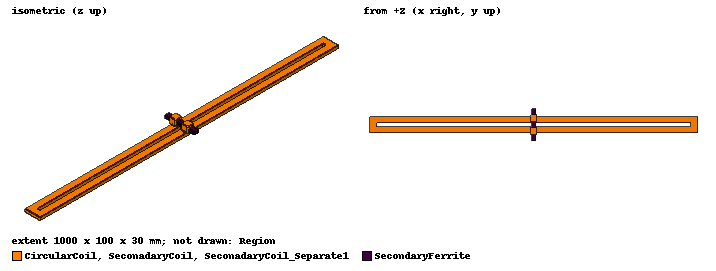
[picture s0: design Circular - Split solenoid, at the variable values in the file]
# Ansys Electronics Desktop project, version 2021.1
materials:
  copper: permeability=0.999991 conductivity=58000000
  ferrite: permittivity=12 permeability=1000 conductivity=0.01
  vacuum: permittivity=1

design DoubleD - Regular solenoid (Maxwell 3D, Magnetostatic, model units mm)
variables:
  DiameterInner = 40mm
  FerriteWidth = 220mm
  FerriteCoilGap = 10mm
  SCwidth = 20mm
  SCLength = 40mm
  SCdepth = 20mm
  SecondaryFerriteWidth = 15mm
  SecondaryFerriteHeight = 8mm
  SecondaryFerrriteOffset = 25mm
  N2 = 10
  I2 = 1*sqrt(2) A
  secondaryYOffset = 50mm
  SecondaryFerriteLength = 100mm
  PrimaryCuttoutOffset = 125mm
  PrimaryCuttoutWidth = 75mm
  N = 10
  I = 1*sqrt(2) A
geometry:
  PrimaryFerrite [ferrite] = box(corner=(-500mm, -FerriteWidth/2, -FerriteCoilGap - 8mm), size=(1000mm, FerriteWidth, 8mm))
  Region [vacuum] = region(absolute_offset=300mm on all sides)
  SeconadaryCoil [copper] = box(corner=(-Scwidth/2, -SCLength/2 + secondaryYOffset, SecondaryFerrriteOffset - SCdepth/4), size=(SCwidth, SCLength, SCdepth))
  SecondaryFerrite [ferrite] = box(corner=(-SecondaryFerriteWidth/2, -SecondaryFerriteLength/2 + secondaryYOffset, SecondaryFerrriteOffset), size=(SecondaryFerriteWidth, SecondaryFerriteLength, SecondaryFerriteHeight))
  Box4 = box(corner=(-SecondaryFerriteWidth/2, -SCLength/2 + secondaryYOffset, SecondaryFerrriteOffset), size=(SecondaryFerriteWidth, SCLength, SecondaryFerriteHeight))
  SeconadaryCoil.subtract(Box4)
  SeconadaryCoil_Section1 [copper] = SeconadaryCoil.section(plane=YZ)
  SeconadaryCoil_Section1.separate_bodies()
  PrimaryCoil = box(corner=(-500mm, -150mm, 0mm), size=(1000mm, 150mm, 5mm))
  Box6 = box(corner=(-450mm, -PrimaryCuttoutOffset, 0mm), size=(900mm, PrimaryCuttoutWidth, 5mm))
  PrimaryCoil.subtract(Box6)
  PrimaryCoil_1 [copper] = PrimaryCoil.duplicate_mirror(point=(0mm, 0mm, 0mm), normal=(0mm, 1mm, 0mm))
  PrimaryCoil_1.unite(PrimaryCoil)
  PrimaryCoil_1.split(plane=XY, keep=PositiveOnly)
  PrimaryCoil_2 [copper] = PrimaryCoil_1.split(plane=ZX, keep=Both)
  PrimaryCoil_1.separate_bodies()
  PrimaryCoil_1_Section1 = PrimaryCoil_1.section(plane=YZ)
  PrimaryCoil_1_Section1_Separate1 [copper] = PrimaryCoil_1_Section1.separate_bodies()
  PrimaryCoil_1_Section1.delete()
  PrimaryCoil_2_Section1 = PrimaryCoil_2.section(plane=YZ)
  PrimaryCoil_2_Section1_Separate1 [copper] = PrimaryCoil_2_Section1.separate_bodies()
  PrimaryCoil_2_Section1.delete()
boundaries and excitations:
  Insulating1: Insulating Objects=[PrimaryCoil_1, PrimaryCoil_2]
  L_st: Current Objects=SeconadaryCoil_Section1 Current=N2*I2 IsSolid=false Point_out_of_terminal=false
  L_pt1: Current Objects=PrimaryCoil_1_Section1_Separate1 Current=N*I IsSolid=false Point_out_of_terminal=false
  L_pt2: Current Objects=PrimaryCoil_2_Section1_Separate1 Current=N*I IsSolid=false Point_out_of_terminal=false
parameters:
  Matrix1: Matrix L_st: NumberOfTurns=N2; L_pt1, L_pt2: NumberOfTurns=1; group Group1 = L_pt1, L_pt2 (1 parallel)
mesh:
  initial mesh: GlobalCurvilinear{Apply}
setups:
  Setup1: Magnetostatic MaximumPasses=30 MinimumPasses=2 MinimumConvergedPasses=1 PercentRefinement=30 PercentError=1 NonLinearResidual=0.001
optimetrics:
  CuttoutWidthSweep: Parametric Sim._Setups=[Setup1]
    sweep PrimaryCuttoutWidth: LIN 50mm 125mm 12.5mm
    calculate L_st_sim on Setup1 : LastAdaptive
    calculate k on Setup1 : LastAdaptive
    calculate L_pt_sim on Setup1 : LastAdaptive
    calculate M on Setup1 : LastAdaptive
  CuttoutOffsetSweep: Parametric Sim._Setups=[Setup1]
    sweep PrimaryCuttoutOffset: LIN 80mm 140mm 10mm
    calculate L_pt_sim on Setup1 : LastAdaptive
    calculate L_st_sim on Setup1 : LastAdaptive
    calculate k on Setup1 : LastAdaptive
    calculate M on Setup1 : LastAdaptive
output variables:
  L_pt_sim = Matrix1.L(L_pt,L_pt)
  L_st_sim = Matrix1.L(L_st,L_st)
  k = abs(Matrix1.CplCoef(L_st,L_pt))
  M = k*sqrt(L_pt_sim*L_st_sim)
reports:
  L Plot 1: Matrix1.L(Group1,Group1) vs PrimaryCoilWidth on Setup1 : LastAdaptive [PrimaryCuttoutOffset=all PrimaryCuttoutWidth=all]

design Circular - Split solenoid (Maxwell 3D, Magnetostatic, model units mm)
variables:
  SCwidth = 20mm
  SCLength = 60mm
  SCdepth = 20mm
  SecondaryFerriteWidth = 15mm
  SecondaryFerriteHeight = 8mm
  SecondaryFerrriteOffset = 15mm
  secondaryYOffset = 0mm
  SecondaryFerriteLength = 100mm
  OuterWidthPrimary = 50mm
  ZThicknessPrimary = 10mm
  PrimaryThickness = 20mm
  SCGapLength = 20mm
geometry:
  Region [vacuum] = region(absolute_offset=300mm on all sides)
  SeconadaryCoil [copper] = box(corner=(-Scwidth/2, -SCLength/2 + secondaryYOffset, SecondaryFerrriteOffset - SCdepth/4), size=(SCwidth, SCLength, SCdepth))
  SecondaryFerrite [ferrite] = box(corner=(-SecondaryFerriteWidth/2, -SecondaryFerriteLength/2 + secondaryYOffset, SecondaryFerrriteOffset), size=(SecondaryFerriteWidth, SecondaryFerriteLength, SecondaryFerriteHeight))
  Box4 = box(corner=(-SecondaryFerriteWidth/2, -SCLength/2 + secondaryYOffset, SecondaryFerrriteOffset), size=(SecondaryFerriteWidth, SCLength, SecondaryFerriteHeight))
  SeconadaryCoil.subtract(Box4)
  CircularCoil [copper] = box(corner=(-500mm, -OuterWidthPrimary/2, 0mm), size=(1000mm, OuterWidthPrimary, ZThicknessPrimary))
  CircularCoilCuttout = box(corner=(-(1000mm - 2*PrimaryThickness)/2, -(OuterWidthPrimary -2*PrimaryThickness)/2, 0mm), size=(1000mm - 2*PrimaryThickness, OuterWidthPrimary -2*PrimaryThickness, ZThicknessPrimary))
  CircularCoil.subtract(CircularCoilCuttout)
  SeconadaryCoilGap = box(corner=(-Scwidth/2, -(SCGapLength/2) + secondaryYOffset, SecondaryFerrriteOffset - SCdepth/4), size=(SCwidth, SCGapLength, SCdepth))
  Box5 = box(corner=(-SecondaryFerriteWidth/2, -SCLength/2 + secondaryYOffset, SecondaryFerrriteOffset), size=(SecondaryFerriteWidth, SCLength, SecondaryFerriteHeight))
  SeconadaryCoilGap.subtract(Box5)
  SeconadaryCoil.subtract(SeconadaryCoilGap)
  SeconadaryCoil_Separate1 [copper] = SeconadaryCoil.separate_bodies()
  SeconadaryCoil_Separate1_Section1 = SeconadaryCoil_Separate1.section(plane=YZ)
  SeconadaryCoil_Section2 = SeconadaryCoil.section(plane=YZ)
  SeconadaryCoil_Separate1_Section1_Separate1 [copper] = SeconadaryCoil_Separate1_Section1.separate_bodies()
  SeconadaryCoil_Separate1_Section1.delete()
  SeconadaryCoil_Section2_Separate1 [copper] = SeconadaryCoil_Section2.separate_bodies()
  SeconadaryCoil_Section2.delete()
  CircularCoil_Section1 = CircularCoil.section(plane=YZ)
  CircularCoil_Section1.separate_bodies()
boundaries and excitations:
  Insulating1: Insulating Objects=[SecondaryFerrite, SeconadaryCoil, SeconadaryCoil_Separate1]
  Ist_1: Current Objects=SeconadaryCoil_Separate1_Section1_Separate1 Current=1A IsSolid=false Point_out_of_terminal=true
  Ist_2: Current Objects=SeconadaryCoil_Section2_Separate1 Current=1A IsSolid=false Point_out_of_terminal=false
  Ipt: Current Objects=CircularCoil_Section1 Current=1A IsSolid=false Point_out_of_terminal=false
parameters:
  Matrix1: Matrix Ipt, Ist_1, Ist_2: NumberOfTurns=1; group Group1 = Ist_1, Ist_2 (1 parallel)
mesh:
  initial mesh: GlobalCurvilinear{Apply}
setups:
  Setup1: Magnetostatic MaximumPasses=30 MinimumPasses=2 MinimumConvergedPasses=1 PercentRefinement=30 PercentError=1 NonLinearResidual=0.001
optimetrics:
  ParametricSetup1: Parametric Sim._Setups=[Setup1]
    sweep OuterWidthPrimary: LIN 50mm 80mm 5mm
    calculate Lpt on Setup1 : LastAdaptive
    calculate Lst on Setup1 : LastAdaptive
    calculate Lmutual on Setup1 : LastAdaptive
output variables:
  Lpt = Matrix1.L(Ipt,Ipt)
  Lst = Matrix1.L(Group1,Group1)
  Lmutual = Matrix1.L(Group1,Ipt)
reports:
  Output Variables Plot 1: Lpt vs OuterWidthPrimary on Setup1 : LastAdaptive
  Output Variables Plot 2: Lst vs OuterWidthPrimary on Setup1 : LastAdaptive
  Output Variables Plot 3: Lmutual vs OuterWidthPrimary on Setup1 : LastAdaptive

design DoubleD - Holed Ferrites (Maxwell 3D, Magnetostatic, model units mm)
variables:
  FerriteWidth = 230mm  # Y dimension of the Primary Ferrite
  FerriteCoilGap = 10mm  # Z gap between the Primary Ferrite and coils
  SCLength = 40mm  # Y length of the secondary coil
  SecondaryFerriteWidth = 15mm  # X width of the secondary Ferrite
  SecondaryFerriteHeight = 8mm  # Z height of the Secondary Ferrite
  SecondaryFerrriteOffset = 30mm  # Z offset of the secondary coil and ferrite
  N2 = 10  # Turns on the secondary coil
  I2 = 1*sqrt(2) A  # Current through the secondary coil
  secondaryYOffset = 0mm  # Y offset of the secondary coil and ferrite
  SecondaryFerriteLength = 100mm  # Y length of the secondary Ferrite
  PrimaryCuttoutOffset = 125mm  # Y offset of the hole in the Primary coil. This is mirrored on either side
  PrimaryCuttoutWidth = 75mm  # Y Width of the holes in the Primary coil
  N = 10  # Number of turns in the Primary Coil
  I = 1*sqrt(2) A  # Current through the Primary Coil
  SecondaryCoilThickness = 5mm  # Thickness of the secondary coil, It is bigger by this dimension on each side in the X and Z axis
  PrimaryCoilWidth = 5mm
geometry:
  PrimaryFerrite [ferrite] = box(corner=(-500mm, -FerriteWidth/2, -FerriteCoilGap - 8mm), size=(1000mm, FerriteWidth, 8mm))
  Region [vacuum] = region(absolute_offset=300mm on all sides)
  SeconadaryCoil [copper] = box(corner=(-Scwidth/2, -SCLength/2 + secondaryYOffset, SecondaryFerrriteOffset - SCdepth/4), size=(SCwidth, SCLength, SCdepth))
  SecondaryFerrite [ferrite] = box(corner=(-SecondaryFerriteWidth/2, -SecondaryFerriteLength/2 + secondaryYOffset, SecondaryFerrriteOffset), size=(SecondaryFerriteWidth, SecondaryFerriteLength, SecondaryFerriteHeight))
  Box4 = box(corner=(-SecondaryFerriteWidth/2, -SCLength/2 + secondaryYOffset, SecondaryFerrriteOffset), size=(SecondaryFerriteWidth, SCLength, SecondaryFerriteHeight))
  SeconadaryCoil.subtract(Box4)
  SeconadaryCoil_Section1 [copper] = SeconadaryCoil.section(plane=YZ)
  SeconadaryCoil_Section1.separate_bodies()
  PrimaryCoil = box(corner=(-500mm, -150mm, 0mm), size=(1000mm, 150mm, PrimaryCoilWidth))
  Box6 = box(corner=(-450mm, -PrimaryCuttoutOffset, 0mm), size=(900mm, PrimaryCuttoutWidth, PrimaryCoilWidth))
  PrimaryCoil.subtract(Box6)
  PrimaryCoil_1 [copper] = PrimaryCoil.duplicate_mirror(point=(0mm, 0mm, 0mm), normal=(0mm, 1mm, 0mm))
  PrimaryCoil_1.unite(PrimaryCoil)
  PrimaryCoil_1.split(plane=XY, keep=PositiveOnly)
  PrimaryCoil_2 [copper] = PrimaryCoil_1.split(plane=ZX, keep=Both)
  PrimaryCoil_1.separate_bodies()
  PrimaryCoil_1_Section1 = PrimaryCoil_1.section(plane=YZ)
  PrimaryCoil_1_Section1_Separate1 [copper] = PrimaryCoil_1_Section1.separate_bodies()
  PrimaryCoil_1_Section1.delete()
  PrimaryCoil_2_Section1 = PrimaryCoil_2.section(plane=YZ)
  PrimaryCoil_2_Section1_Separate1 [copper] = PrimaryCoil_2_Section1.separate_bodies()
  PrimaryCoil_2_Section1.delete()
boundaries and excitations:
  Insulating1: Insulating Objects=[PrimaryCoil_1, PrimaryCoil_2]
  L_st: Current Objects=SeconadaryCoil_Section1 Current=N2*I2 IsSolid=false Point_out_of_terminal=false
  L_pt1: Current Objects=PrimaryCoil_1_Section1_Separate1 Current=N*I IsSolid=false Point_out_of_terminal=false
  L_pt2: Current Objects=PrimaryCoil_2_Section1_Separate1 Current=N*I IsSolid=false Point_out_of_terminal=false
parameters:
  Matrix1: Matrix L_st: NumberOfTurns=N2; L_pt1, L_pt2: NumberOfTurns=1; group Group1 = L_pt1, L_pt2 (1 parallel)
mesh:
  initial mesh: GlobalCurvilinear{Apply}
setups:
  Setup1: Magnetostatic MaximumPasses=30 MinimumPasses=2 MinimumConvergedPasses=1 PercentRefinement=30 PercentError=1 NonLinearResidual=0.001
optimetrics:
  CuttoutWidthSweep: Parametric Sim._Setups=[Setup1]
    sweep PrimaryCuttoutWidth: LIN 50mm 125mm 12.5mm
    calculate L_st_sim on Setup1 : LastAdaptive
    calculate k on Setup1 : LastAdaptive
    calculate L_pt_sim on Setup1 : LastAdaptive
    calculate M on Setup1 : LastAdaptive
  CuttoutOffsetSweep: Parametric Sim._Setups=[Setup1]
    sweep PrimaryCuttoutOffset: LIN 80mm 140mm 10mm
    calculate L_pt_sim on Setup1 : LastAdaptive
    calculate L_st_sim on Setup1 : LastAdaptive
    calculate k on Setup1 : LastAdaptive
    calculate M on Setup1 : LastAdaptive
  PrimaryHeightSweep: Parametric Sim._Setups=[Setup1]
    sweep PrimaryCoilWidth: LIN 2.5mm 10.5mm 0.5mm
    calculate L_st_sim on Setup1 : LastAdaptive
    calculate Matrix1.L(Group1,Group1) on Setup1 : LastAdaptive
  FerriteWidthSweep: Parametric Sim._Setups=[Setup1]
    sweep FerriteWidth: LIN 80mm 300mm 20mm
    calculate L_pt_sim on Setup1 : LastAdaptive
    calculate L_st_sim on Setup1 : LastAdaptive
    calculate k on Setup1 : LastAdaptive
    calculate Matrix1.CplCoef(L_pt1,L_pt2) on Setup1 : LastAdaptive
    calculate Matrix1.CplCoef(L_pt1,L_st) on Setup1 : LastAdaptive
    calculate Matrix1.CplCoef(L_pt2,L_st) on Setup1 : LastAdaptive
  SecondaryOffsetSweep: Parametric Sim._Setups=[Setup1]
    sweep secondaryYOffset: LIN 0mm 50mm 10mm
    calculate k on Setup1 : LastAdaptive
    calculate L_st_sim on Setup1 : LastAdaptive
    calculate L_pt_sim on Setup1 : LastAdaptive
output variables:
  L_pt_sim = Matrix1.L(Group1,Group1)
  L_st_sim = Matrix1.L(L_st,L_st)
  M = k*sqrt(L_pt_sim*L_st_sim)
  k = Matrix1.CplCoef(L_pt1,L_st)+Matrix1.CplCoef(L_pt2,L_st)
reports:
  Output Variables Plot 1: L_st_sim vs DiameterInner on Setup1 : LastAdaptive [PrimaryCuttoutOffset=all PrimaryCuttoutWidth=all]
